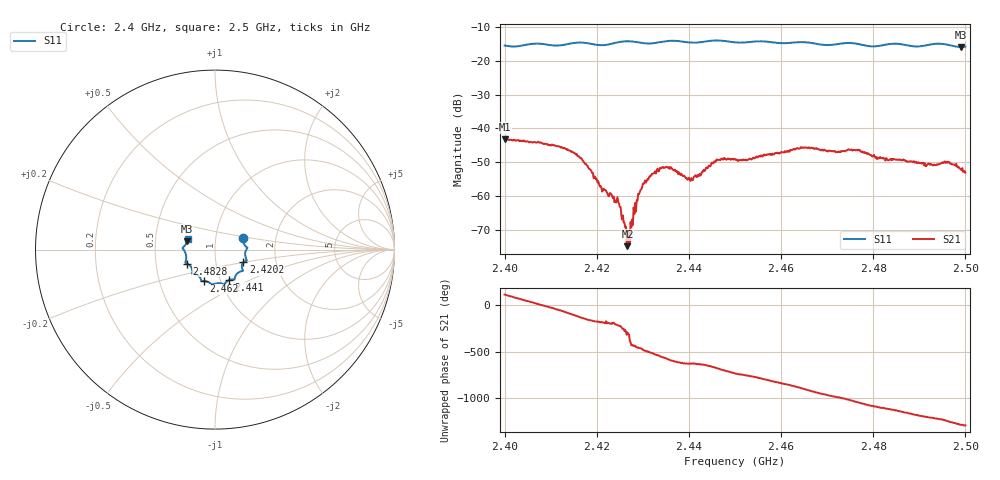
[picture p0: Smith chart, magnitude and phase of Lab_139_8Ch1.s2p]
# Hz S RI R 50
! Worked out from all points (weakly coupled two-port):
!   601 points, 2.4 GHz to 2.5 GHz, reference 50 ohm
!   highest |S21| = -43.17 dB at 2.4 GHz (marker M1); lowest = -74.9 dB at 2.4267 GHz (marker M2)
!   lowest |S11| = -15.8 dB at 2.499 GHz (marker M3), VSWR 1.39, Z = 36.5 + j3.48 ohm
!   |S11| at or under -10 dB: start of sweep to end of sweep
!   S12 and S22 are empty: the file has one direction only
!   S11 on the Smith chart (normalised r, x): 2.4 GHz: 1.36, +0.18; 2.4202 GHz: 1.36, -0.20; 2.441 GHz: 1.10, -0.39; 2.462 GHz: 0.84, -0.30; 2.4828 GHz: 0.72, -0.12; 2.5 GHz: 0.73, +0.09
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2.4e9  0.1572 0.0628  -0.00285 0.00633  0 0  0 0
2.411333e9  0.1681 -0.0204  0.00373 -0.00396  0 0  0 0
2.416667e9  0.1778 -0.0601  -0.00255 -0.00257  0 0  0 0
2.420167e9  0.158 -0.0707  -0.00157 -0.000148  0 0  0 0
2.424667e9  0.1539 -0.1114  -0.000637 0.000489  0 0  0 0
2.426667e9  0.157 -0.118  6.79e-05 0.000167  0 0  0 0
2.427e9  0.1564 -0.1186  0.000211 0.000216  0 0  0 0
2.4285e9  0.1496 -0.1196  1.75e-05 -0.000588  0 0  0 0
2.4295e9  0.1413 -0.122  -0.000244 -0.0012  0 0  0 0
2.433333e9  0.1122 -0.1511  -0.00234 -9.25e-05  0 0  0 0
2.435667e9  0.1101 -0.1656  -0.00196 0.00182  0 0  0 0
2.441e9  0.0785 -0.1697  -0.000229 0.00186  0 0  0 0
2.446e9  0.0508 -0.1951  0.00245 0.00248  0 0  0 0
2.45e9  0.0284 -0.187  0.00341 -0.000694  0 0  0 0
2.462e9  -0.0607 -0.1756  -0.00356 -0.00327  0 0  0 0
2.466667e9  -0.0778 -0.168  -0.00473 0.00212  0 0  0 0
2.476667e9  -0.1262 -0.1268  0.00371 0.00293  0 0  0 0
2.482833e9  -0.1575 -0.0775  0.00316 -0.00184  0 0  0 0
2.483333e9  -0.1605 -0.0762  0.00284 -0.00182  0 0  0 0
2.496e9  -0.1742 0.0156  -0.00304 -0.00107  0 0  0 0
2.499e9  -0.1547 0.0465  -0.00233 0.000912  0 0  0 0
2.5e9  -0.1518 0.061  -0.00195 0.00103  0 0  0 0
